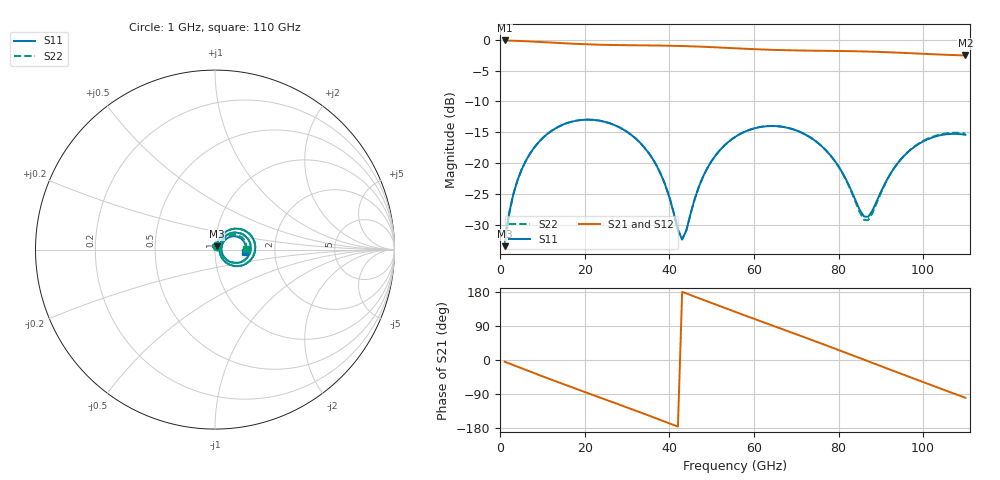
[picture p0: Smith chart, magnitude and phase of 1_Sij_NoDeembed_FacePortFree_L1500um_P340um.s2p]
! Touchstone file exported from HFSS 2024.2.0
!  File:  C:/Users/vaintrug/Documents/Ansoft_Workspace/Comparaison_Calculs_HFSS/1_VarPort.aedt
!  Generated:  03:22:17 PM Jan 21, 2025
!  Design:  1_NoDeembed_FacePortFree
!  Project:  1_VarPort
!  Setup:  Setup1
!  Solution:  Sweep
! Variables:
!  $Lenght = 1500um
!  $PortSize = 340um
!  Gap = 30um
!  Th = 2um
!  X_centralStrip = 20um
!  X_masse = 200um
!  Y_Sub = 1.5mm
!  Z_Box = 400um
!  Z_Sub = 200um
# GHz S MA R 50.000000
! Terminal data exported
! Port[1] = 1
! Port[2] = 2
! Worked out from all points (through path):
!   110 points, 1 GHz to 110 GHz, reference 50 ohm
!   highest |S21| = -0.10 dB at 1 GHz (marker M1); lowest = -2.5 dB at 110 GHz (marker M2)
!   group delay of S21, straight-line fit = 11.6 ps
!   lowest |S11| = -33.5 dB at 1 GHz (marker M3), VSWR 1.04, Z = 50.9 + j1.92 ohm
!   |S11| at or under -10 dB: start of sweep to end of sweep
!   |S22| runs from -33.5 to -13.0 dB; largest |S21 - S12| = 2e-15
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1  0.02113 62.9  0.9891 -4.4  0.9891 -4.4  0.02113 62.9
! Gamma 6.01362031427227 49.9734619642356 5.96678624062307 50.0629412880573
! Port Impedance 50 0 50 0
2  0.03777 69.6  0.9865 -8.8  0.9865 -8.8  0.03777 69.7
3  0.05474 69.9  0.984 -13.1  0.984 -13.1  0.05475 70.0
7  0.1191 58.4  0.9711 -30.3  0.9711 -30.3  0.1191 58.5
14  0.1991 31.2  0.9427 -59.9  0.9427 -59.9  0.1992 31.4
20  0.2246 8.0  0.922 -84.6  0.922 -84.6  0.2248 8.2
29  0.1879 -25.4  0.906 -121.3  0.906 -121.3  0.1881 -25.1
34  0.1344 -42.1  0.9022 -142.1  0.9022 -142.1  0.1347 -41.7
38  0.08044 -50.9  0.8987 -158.9  0.8987 -158.9  0.08077 -50.5
43  0.02394 1.6  0.8911 179.9  0.8911 179.9  0.02404 1.4
47  0.0649 54.3  0.8816 162.9  0.8816 162.9  0.06475 54.6
49  0.09149 52.9  0.8758 154.5  0.8758 154.5  0.09136 53.3
56  0.1667 33.0  0.853 125.2  0.853 125.2  0.1667 33.6
65  0.1995 2.0  0.8287 88.3  0.8287 88.3  0.1998 2.7
74  0.1556 -27.4  0.817 51.4  0.817 51.4  0.1558 -26.7
80  0.09383 -40.7  0.8124 26.3  0.8124 26.3  0.09351 -40.4
86  0.0368 -7.8  0.8051 0.9  0.8051 0.9  0.03459 -6.7
88  0.04103 24.5  0.8015 -7.6  0.8015 -7.6  0.03905 28.4
92  0.07905 43.6  0.7926 -24.6  0.7926 -24.6  0.07856 47.8
96  0.119 38.1  0.782 -41.5  0.782 -41.5  0.1195 42.2
101  0.1555 24.1  0.7681 -62.4  0.7681 -62.4  0.1573 28.5
110  0.1694 -5.4  0.7473 -99.7  0.7473 -99.7  0.1739 0.6
